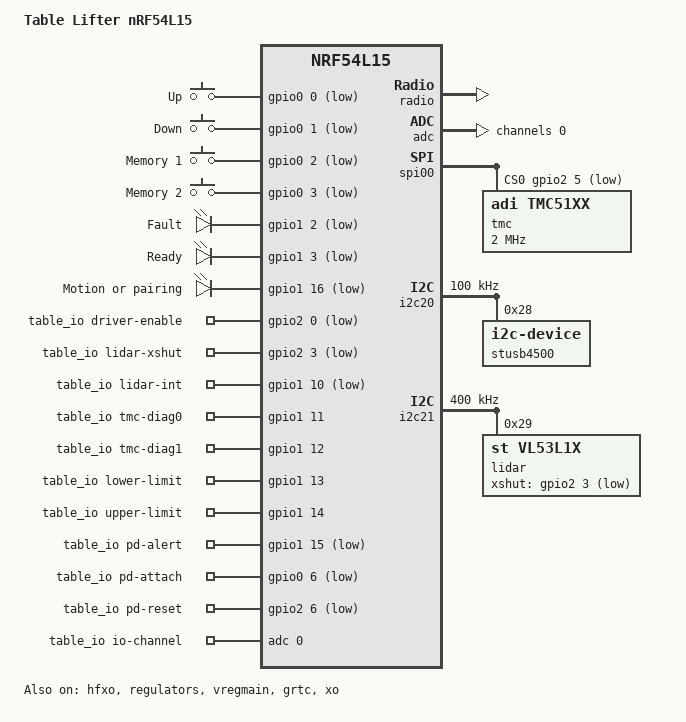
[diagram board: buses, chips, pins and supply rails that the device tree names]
/dts-v1/;
#include <nordic/nrf54l15_cpuapp.dtsi>
#include <vendor/nordic/nrf54l15_cpuapp_partition.dtsi>
#include <zephyr/dt-bindings/gpio/gpio.h>
#include <zephyr/dt-bindings/adc/adc.h>
#include "table_lifter-pinctrl.dtsi"

/ {
  model = "Table Lifter nRF54L15";
  compatible = "jasper,table-lifter";
  chosen {
    zephyr,code-partition = &slot0_partition;
    zephyr,sram = &cpuapp_sram;
    zephyr,flash-controller = &rram_controller;
    zephyr,flash = &cpuapp_rram;
  };
  aliases {
    up-button = &up_button;
    down-button = &down_button;
    memory1-button = &memory1_button;
    memory2-button = &memory2_button;
    led-red = &led_red;
    led-green = &led_green;
    led-blue = &led_blue;
  };
  buttons {
    compatible = "gpio-keys";
    up_button: up_button { gpios = <&gpio0 0 GPIO_ACTIVE_LOW>; label = "Up"; };
    down_button: down_button { gpios = <&gpio0 1 GPIO_ACTIVE_LOW>; label = "Down"; };
    memory1_button: memory1_button { gpios = <&gpio0 2 GPIO_ACTIVE_LOW>; label = "Memory 1"; };
    memory2_button: memory2_button { gpios = <&gpio0 3 GPIO_ACTIVE_LOW>; label = "Memory 2"; };
  };
  leds {
    compatible = "gpio-leds";
    led_red: led_red { gpios = <&gpio1 2 GPIO_ACTIVE_LOW>; label = "Fault"; };
    led_green: led_green { gpios = <&gpio1 3 GPIO_ACTIVE_LOW>; label = "Ready"; };
    led_blue: led_blue { gpios = <&gpio1 16 GPIO_ACTIVE_LOW>; label = "Motion or pairing"; };
  };
  table_io: zephyr,user {
    driver-enable-gpios = <&gpio2 0 GPIO_ACTIVE_LOW>;
    lidar-xshut-gpios = <&gpio2 3 GPIO_ACTIVE_LOW>;
    lidar-int-gpios = <&gpio1 10 GPIO_ACTIVE_LOW>;
    tmc-diag0-gpios = <&gpio1 11 GPIO_ACTIVE_HIGH>;
    tmc-diag1-gpios = <&gpio1 12 GPIO_ACTIVE_HIGH>;
    lower-limit-gpios = <&gpio1 13 GPIO_ACTIVE_HIGH>;
    upper-limit-gpios = <&gpio1 14 GPIO_ACTIVE_HIGH>;
    pd-alert-gpios = <&gpio1 15 GPIO_ACTIVE_LOW>;
    pd-attach-gpios = <&gpio0 6 GPIO_ACTIVE_LOW>;
    pd-reset-gpios = <&gpio2 6 GPIO_ACTIVE_LOW>;
    io-channels = <&adc 0>;
  };
};

&cpuapp_sram { status = "okay"; };
&hfxo { status = "okay"; };
&regulators { status = "okay"; };
&vregmain { status = "okay"; };
&grtc {
  status = "okay";
  owned-channels = <0 1 2 3 4 5 6 7 8 9 10 11>;
  child-owned-channels = <3 4 7 8 9 10 11>;
};
&clock { status = "okay"; };
&xo { status = "okay"; };
&lfclk {
  status = "okay";
  k32src = "rc";
  k32src-accuracy-ppm = <250>;
};
&gpio0 { status = "okay"; };
&gpio1 { status = "okay"; };
&gpio2 { status = "okay"; };
&gpiote20 { status = "okay"; };
&gpiote30 { status = "okay"; };
&radio { status = "okay"; };
&adc {
  status = "okay";
  #address-cells = <1>;
  #size-cells = <0>;
  channel@0 {
    reg = <0>;
    zephyr,gain = "ADC_GAIN_1_4";
    zephyr,reference = "ADC_REF_INTERNAL";
    zephyr,acquisition-time = <ADC_ACQ_TIME_DEFAULT>;
    zephyr,input-positive = <NRF_SAADC_AIN2>;
    zephyr,resolution = <12>;
  };
};
&spi00 {
  status = "okay";
  cs-gpios = <&gpio2 5 GPIO_ACTIVE_LOW>;
  pinctrl-0 = <&spi00_default>;
  pinctrl-1 = <&spi00_sleep>;
  pinctrl-names = "default", "sleep";
  tmc: tmc5160@0 {
    compatible = "adi,tmc51xx";
    reg = <0>;
    /* SPIM00: 128 MHz / 64; 1 MHz exceeds its maximum divisor of 126. */
    spi-max-frequency = <2000000>;
    clock-frequency = <16000000>;
    driver: stepper-driver {
      compatible = "adi,tmc51xx-stepper-driver";
      micro-step-res = <16>;
      en-gpios = <&gpio2 0 GPIO_ACTIVE_LOW>;
    };
    ramp: motion-controller {
      compatible = "adi,tmc51xx-stepper-ctrl";
      irun = <7>;
      ihold = <2>;
      iholddelay = <4>;
      vstart = <1>;
      vstop = <10>;
      d1 = <1>;
    };
  };
};
&i2c20 {
  status = "okay";
  pinctrl-0 = <&i2c20_default>;
  pinctrl-1 = <&i2c20_sleep>;
  pinctrl-names = "default", "sleep";
  clock-frequency = <100000>;
  stusb4500: stusb4500@28 { compatible = "zephyr,i2c-device"; reg = <0x28>; };
};
&i2c21 {
  status = "okay";
  pinctrl-0 = <&i2c21_default>;
  pinctrl-1 = <&i2c21_sleep>;
  pinctrl-names = "default", "sleep";
  clock-frequency = <400000>;
  lidar: vl53l1x@29 {
    compatible = "st,vl53l1x";
    reg = <0x29>;
    xshut-gpios = <&gpio2 3 GPIO_ACTIVE_LOW>;
  };
};
&nfct { status = "disabled"; };
